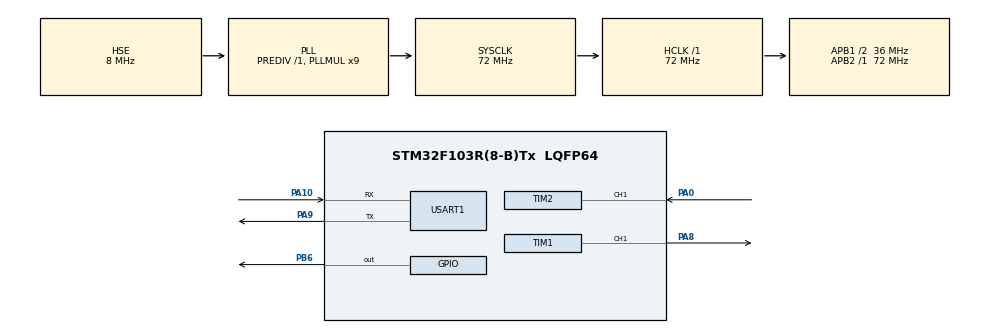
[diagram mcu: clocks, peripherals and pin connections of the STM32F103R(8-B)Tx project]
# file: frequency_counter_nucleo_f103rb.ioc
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Mcu.Family=STM32F1
Mcu.Name=STM32F103R(8-B)Tx
Mcu.Package=LQFP64
NVIC.PriorityGroup=NVIC_PRIORITYGROUP_4
NVIC.TIM2_IRQn=true\:0\:0\:false\:false\:true\:true\:true\:true
PA0-WKUP.Signal=S_TIM2_CH1_ETR
PA10.Mode=Asynchronous
PA10.Signal=USART1_RX
PA8.Signal=S_TIM1_CH1
PA9.Mode=Asynchronous
PA9.Signal=USART1_TX
PB6.Signal=GPIO_Output
PC14-OSC32_IN.Mode=LSE-External-Oscillator
PC14-OSC32_IN.Signal=RCC_OSC32_IN
PC15-OSC32_OUT.Mode=LSE-External-Oscillator
PC15-OSC32_OUT.Signal=RCC_OSC32_OUT
PD0-OSC_IN.Mode=HSE-External-Oscillator
PD0-OSC_IN.Signal=RCC_OSC_IN
PD1-OSC_OUT.Mode=HSE-External-Oscillator
PD1-OSC_OUT.Signal=RCC_OSC_OUT
ProjectManager.HeapSize=0x200
ProjectManager.StackSize=0x400
ProjectManager.TargetToolchain=STM32CubeIDE
RCC.AHBFreq_Value=72000000
RCC.APB1CLKDivider=RCC_HCLK_DIV2
RCC.APB1Freq_Value=36000000
RCC.APB1TimFreq_Value=72000000
RCC.APB2Freq_Value=72000000
RCC.APB2TimFreq_Value=72000000
RCC.HCLKFreq_Value=72000000
RCC.PLLMUL=RCC_PLL_MUL9
RCC.PLLSourceVirtual=RCC_PLLSOURCE_HSE
RCC.RTCClockSelection=RCC_RTCCLKSOURCE_LSE
RCC.SYSCLKFreq_VALUE=72000000
RCC.SYSCLKSource=RCC_SYSCLKSOURCE_PLLCLK
RCC.USBFreq_Value=72000000
SH.S_TIM1_CH1.0=TIM1_CH1,PWM Generation1 CH1
SH.S_TIM2_CH1_ETR.0=TIM2_CH1,Input_Capture1_from_TI1
TIM1.Channel-PWM\ Generation1\ CH1=TIM_CHANNEL_1
TIM1.Period=100
TIM1.Prescaler=72-1
TIM2.Channel-Input_Capture1_from_TI1=TIM_CHANNEL_1
TIM2.Period=65535
TIM2.Prescaler=72-1
USART1.VirtualMode=VM_ASYNC
VP_SYS_VS_ND.Mode=No_Debug
VP_TIM1_VS_ClockSourceINT.Mode=Internal
VP_TIM2_VS_ClockSourceINT.Mode=Internal
board=NUCLEO-F103RB

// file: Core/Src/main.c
/* USER CODE BEGIN Header */
/* USER CODE END Header */
#include "main.h"
#include <stdio.h>
#define HAL_UART_MODULE_ENABLED
/* USER CODE BEGIN Includes */
double duty = 0;
double temp = 0;
double temp2 = 0;
uint8_t freq[] = "Frequency = \n";
uint8_t freq_val[1];
/* USER CODE END Includes */

/* USER CODE BEGIN PD */
#define TIMCLOCK   72000000
#define PRESCALAR  72

uint32_t IC_Val1 = 0;
uint32_t IC_Val2 = 0;
uint32_t Difference = 0;
int Is_First_Captured = 0;
/* USER CODE END PD */

/* USER CODE BEGIN PM */
int frequency = 0;

void HAL_TIM_IC_CaptureCallback(TIM_HandleTypeDef *htim)
{
	if (htim->Channel == HAL_TIM_ACTIVE_CHANNEL_1)
	{
		if (Is_First_Captured==0) // if the first rising edge is not captured
		{
			IC_Val1 = HAL_TIM_ReadCapturedValue(htim, TIM_CHANNEL_1); // read the first value
			Is_First_Captured = 1;  // set the first captured as true
		}

		else   // If the first rising edge is captured, now we will capture the second edge
		{
			IC_Val2 = HAL_TIM_ReadCapturedValue(htim, TIM_CHANNEL_1);  // read second value

			if (IC_Val2 > IC_Val1)
			{
				Difference = IC_Val2-IC_Val1;
			}

			else if (IC_Val1 > IC_Val2)
			{
				Difference = (0xffffffff - IC_Val1) + IC_Val2;
			}

			float refClock = TIMCLOCK/(PRESCALAR);

			frequency = refClock/Difference;

			__HAL_TIM_SET_COUNTER(htim, 0);  // reset the counter
			Is_First_Captured = 0; // set it back to false
		}
	}
}
/* USER CODE END PM */

TIM_HandleTypeDef htim1;
TIM_HandleTypeDef htim2;

UART_HandleTypeDef huart1;

void SystemClock_Config(void);
static void MX_GPIO_Init(void);
static void MX_TIM2_Init(void);
static void MX_TIM1_Init(void);
static void MX_USART1_UART_Init(void);

int main(void)
{

  /* MCU Configuration--------------------------------------------------------*/

  /* Reset of all peripherals, Initializes the Flash interface and the Systick. */
  HAL_Init();

  /* Configure the system clock */
  SystemClock_Config();

  /* Initialize all configured peripherals */
  MX_GPIO_Init();
  MX_TIM2_Init();
  MX_TIM1_Init();
  MX_USART1_UART_Init();
  /* USER CODE BEGIN 2 */

  TIM1->CCR1 = 50;
  HAL_TIM_PWM_Start(&htim1,TIM_CHANNEL_1);
  HAL_TIM_IC_Start_IT(&htim2, TIM_CHANNEL_1);

  temp = TIM1->CCR1;
  temp2 = TIM1->ARR;

  //char * z = "asd";
  //HAL_UART_Transmit(&huart1, z, 3,1000);

  /* USER CODE END 2 */
  /* Infinite loop */
  /* USER CODE BEGIN WHILE */
  while(1)
  {

	  printf("Frekans = %d Hz \n",frequency);
	  HAL_Delay(1000);
	  printf("Duty Cycle = %.2f \n",(temp / temp2)*100);

  }
    /* USER CODE END WHILE */

}

void SystemClock_Config(void)
{
  RCC_OscInitTypeDef RCC_OscInitStruct = {0};
  RCC_ClkInitTypeDef RCC_ClkInitStruct = {0};

  /** Initializes the RCC Oscillators according to the specified parameters
  * in the RCC_OscInitTypeDef structure.
  */
  RCC_OscInitStruct.OscillatorType = RCC_OSCILLATORTYPE_HSE;
  RCC_OscInitStruct.HSEState = RCC_HSE_ON;
  RCC_OscInitStruct.HSEPredivValue = RCC_HSE_PREDIV_DIV1;
  RCC_OscInitStruct.HSIState = RCC_HSI_ON;
  RCC_OscInitStruct.PLL.PLLState = RCC_PLL_ON;
  RCC_OscInitStruct.PLL.PLLSource = RCC_PLLSOURCE_HSE;
  RCC_OscInitStruct.PLL.PLLMUL = RCC_PLL_MUL9;
  if (HAL_RCC_OscConfig(&RCC_OscInitStruct) != HAL_OK)
  {
    Error_Handler();
  }

  /** Initializes the CPU, AHB and APB buses clocks
  */
  RCC_ClkInitStruct.ClockType = RCC_CLOCKTYPE_HCLK|RCC_CLOCKTYPE_SYSCLK
                              |RCC_CLOCKTYPE_PCLK1|RCC_CLOCKTYPE_PCLK2;
  RCC_ClkInitStruct.SYSCLKSource = RCC_SYSCLKSOURCE_PLLCLK;
  RCC_ClkInitStruct.AHBCLKDivider = RCC_SYSCLK_DIV1;
  RCC_ClkInitStruct.APB1CLKDivider = RCC_HCLK_DIV2;
  RCC_ClkInitStruct.APB2CLKDivider = RCC_HCLK_DIV1;

  if (HAL_RCC_ClockConfig(&RCC_ClkInitStruct, FLASH_LATENCY_2) != HAL_OK)
  {
    Error_Handler();
  }
}

static void MX_TIM1_Init(void)
{

  TIM_ClockConfigTypeDef sClockSourceConfig = {0};
  TIM_MasterConfigTypeDef sMasterConfig = {0};
  TIM_OC_InitTypeDef sConfigOC = {0};
  TIM_BreakDeadTimeConfigTypeDef sBreakDeadTimeConfig = {0};

  htim1.Instance = TIM1;
  htim1.Init.Prescaler = 72-1;
  htim1.Init.CounterMode = TIM_COUNTERMODE_UP;
  htim1.Init.Period = 100-1;
  htim1.Init.ClockDivision = TIM_CLOCKDIVISION_DIV1;
  htim1.Init.RepetitionCounter = 0;
  htim1.Init.AutoReloadPreload = TIM_AUTORELOAD_PRELOAD_DISABLE;
  if (HAL_TIM_Base_Init(&htim1) != HAL_OK)
  {
    Error_Handler();
  }
  sClockSourceConfig.ClockSource = TIM_CLOCKSOURCE_INTERNAL;
  if (HAL_TIM_ConfigClockSource(&htim1, &sClockSourceConfig) != HAL_OK)
  {
    Error_Handler();
  }
  if (HAL_TIM_PWM_Init(&htim1) != HAL_OK)
  {
    Error_Handler();
  }
  sMasterConfig.MasterOutputTrigger = TIM_TRGO_RESET;
  sMasterConfig.MasterSlaveMode = TIM_MASTERSLAVEMODE_DISABLE;
  if (HAL_TIMEx_MasterConfigSynchronization(&htim1, &sMasterConfig) != HAL_OK)
  {
    Error_Handler();
  }
  sConfigOC.OCMode = TIM_OCMODE_PWM1;
  sConfigOC.Pulse = 0;
  sConfigOC.OCPolarity = TIM_OCPOLARITY_HIGH;
  sConfigOC.OCNPolarity = TIM_OCNPOLARITY_HIGH;
  sConfigOC.OCFastMode = TIM_OCFAST_DISABLE;
  sConfigOC.OCIdleState = TIM_OCIDLESTATE_RESET;
  sConfigOC.OCNIdleState = TIM_OCNIDLESTATE_RESET;
  if (HAL_TIM_PWM_ConfigChannel(&htim1, &sConfigOC, TIM_CHANNEL_1) != HAL_OK)
  {
    Error_Handler();
  }
  sBreakDeadTimeConfig.OffStateRunMode = TIM_OSSR_DISABLE;
  sBreakDeadTimeConfig.OffStateIDLEMode = TIM_OSSI_DISABLE;
  sBreakDeadTimeConfig.LockLevel = TIM_LOCKLEVEL_OFF;
  sBreakDeadTimeConfig.DeadTime = 0;
  sBreakDeadTimeConfig.BreakState = TIM_BREAK_DISABLE;
  sBreakDeadTimeConfig.BreakPolarity = TIM_BREAKPOLARITY_HIGH;
  sBreakDeadTimeConfig.AutomaticOutput = TIM_AUTOMATICOUTPUT_DISABLE;
  if (HAL_TIMEx_ConfigBreakDeadTime(&htim1, &sBreakDeadTimeConfig) != HAL_OK)
  {
    Error_Handler();
  }
  HAL_TIM_MspPostInit(&htim1);

}

static void MX_TIM2_Init(void)
{

  TIM_ClockConfigTypeDef sClockSourceConfig = {0};
  TIM_MasterConfigTypeDef sMasterConfig = {0};
  TIM_IC_InitTypeDef sConfigIC = {0};

  htim2.Instance = TIM2;
  htim2.Init.Prescaler = 72-1;
  htim2.Init.CounterMode = TIM_COUNTERMODE_UP;
  htim2.Init.Period = 65535;
  htim2.Init.ClockDivision = TIM_CLOCKDIVISION_DIV1;
  htim2.Init.AutoReloadPreload = TIM_AUTORELOAD_PRELOAD_DISABLE;
  if (HAL_TIM_Base_Init(&htim2) != HAL_OK)
  {
    Error_Handler();
  }
  sClockSourceConfig.ClockSource = TIM_CLOCKSOURCE_INTERNAL;
  if (HAL_TIM_ConfigClockSource(&htim2, &sClockSourceConfig) != HAL_OK)
  {
    Error_Handler();
  }
  if (HAL_TIM_IC_Init(&htim2) != HAL_OK)
  {
    Error_Handler();
  }
  sMasterConfig.MasterOutputTrigger = TIM_TRGO_RESET;
  sMasterConfig.MasterSlaveMode = TIM_MASTERSLAVEMODE_DISABLE;
  if (HAL_TIMEx_MasterConfigSynchronization(&htim2, &sMasterConfig) != HAL_OK)
  {
    Error_Handler();
  }
  sConfigIC.ICPolarity = TIM_INPUTCHANNELPOLARITY_RISING;
  sConfigIC.ICSelection = TIM_ICSELECTION_DIRECTTI;
  sConfigIC.ICPrescaler = TIM_ICPSC_DIV1;
  sConfigIC.ICFilter = 0;
  if (HAL_TIM_IC_ConfigChannel(&htim2, &sConfigIC, TIM_CHANNEL_1) != HAL_OK)
  {
    Error_Handler();
  }

}

static void MX_USART1_UART_Init(void)
{

  huart1.Instance = USART1;
  huart1.Init.BaudRate = 9600;
  huart1.Init.WordLength = UART_WORDLENGTH_8B;
  huart1.Init.StopBits = UART_STOPBITS_1;
  huart1.Init.Parity = UART_PARITY_NONE;
  huart1.Init.Mode = UART_MODE_TX_RX;
  huart1.Init.HwFlowCtl = UART_HWCONTROL_NONE;
  huart1.Init.OverSampling = UART_OVERSAMPLING_16;
  if (HAL_UART_Init(&huart1) != HAL_OK)
  {
    Error_Handler();
  }

}

static void MX_GPIO_Init(void)
{
  GPIO_InitTypeDef GPIO_InitStruct = {0};

  /* GPIO Ports Clock Enable */
  __HAL_RCC_GPIOC_CLK_ENABLE();
  __HAL_RCC_GPIOD_CLK_ENABLE();
  __HAL_RCC_GPIOA_CLK_ENABLE();
  __HAL_RCC_GPIOB_CLK_ENABLE();

  /*Configure GPIO pin Output Level */
  HAL_GPIO_WritePin(GPIOB, GPIO_PIN_6, GPIO_PIN_RESET);

  /*Configure GPIO pin : PB6 */
  GPIO_InitStruct.Pin = GPIO_PIN_6;
  GPIO_InitStruct.Mode = GPIO_MODE_OUTPUT_PP;
  GPIO_InitStruct.Pull = GPIO_NOPULL;
  GPIO_InitStruct.Speed = GPIO_SPEED_FREQ_LOW;
  HAL_GPIO_Init(GPIOB, &GPIO_InitStruct);

}

void Error_Handler(void)
{
}
#if defined(__GNUC__)
int _write(int fd, char * ptr, int len)
{
  HAL_UART_Transmit(&huart1, (uint8_t *) ptr, len, HAL_MAX_DELAY);
  return len;
}
#elif defined (__ICCARM__)
#include "LowLevelIOInterface.h"
size_t __write(int handle, const unsigned char * buffer, size_t size)
{
  HAL_UART_Transmit(&huart1, (uint8_t *) buffer, size, HAL_MAX_DELAY);
  return size;
}
#elif defined (__CC_ARM)
int fputc(int ch, FILE *f)
{
    HAL_UART_Transmit(&huart1, (uint8_t *)&ch, 1, HAL_MAX_DELAY);
    return ch;
}
#endif

// OR:

// Add syscalls.c with GCC

#ifdef __GNUC__
#define PUTCHAR_PROTOTYPE int __io_putchar(int ch)
#else
#define PUTCHAR_PROTOTYPE int fputc(int ch, FILE *f)
#endif /* __GNUC__ */

/**
  * @brief  Retargets the C library printf function to the USART.
  * @param  None
  * @retval None
  */
PUTCHAR_PROTOTYPE
{
  HAL_UART_Transmit(&huart1, (uint8_t *)&ch, 1, HAL_MAX_DELAY);
  return ch;
}
